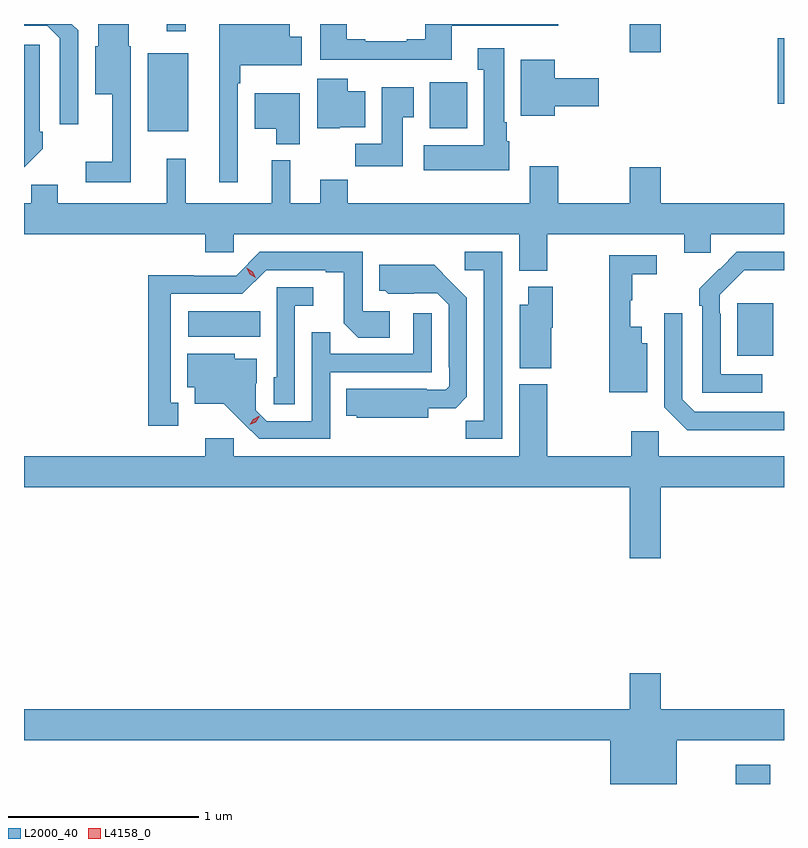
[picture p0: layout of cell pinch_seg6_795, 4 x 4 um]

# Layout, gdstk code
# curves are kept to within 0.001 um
import gdstk
lib = gdstk.Library(unit=1e-6, precision=1e-09)
def R(c, l, rs):  # rectangles x0, y0, x1, y1
    for r in rs: c.add(gdstk.rectangle(r[:2], r[2:], *l))
def P(c, l, *ps):  # polygons
    for p in ps: c.add(gdstk.Polygon(p, *l))
L2000_40 = (2000, 40)
L4158_0 = (4158, 0)

pinch_seg6_795 = lib.new_cell('pinch_seg6_795')
R(pinch_seg6_795, L2000_40, [(153.579,973.747,153.76,973.849), (153.587,976.001,153.775,976.276), (150.696,976.1,151.076,976.234), (150.482,977.183,150.697,977.593), (151.967,977.198,152.164,977.44), (153.8,977.327,153.832,977.671), (153.02,977.598,153.184,977.747), (150.584,977.709,150.682,977.747)])
P(pinch_seg6_795, L2000_40, [(152.083,977.739),(152.644,977.739),(152.644,977.747),(151.943,977.747),(151.943,977.668),(151.847,977.668),(151.847,977.655),(151.627,977.655),(151.627,977.668),(151.531,977.668),(151.531,977.747),(151.391,977.747),(151.391,977.558),(152.083,977.558)],
  [(150.117,977.713),(150.083,977.747),(149.832,977.747),(149.832,977.739),(149.955,977.739),(150.021,977.673),(150.021,977.22),(150.117,977.22)],
  [(150.957,977.435),(150.97,977.435),(150.97,977.531),(151.294,977.531),(151.294,977.679),(151.231,977.679),(151.231,977.747),(150.86,977.747),(150.86,976.914),(150.957,976.914)],
  [(150.393,977.631),(150.382,977.631),(150.382,977.746),(150.224,977.746),(150.224,977.631),(150.206,977.631),(150.206,977.378),(150.296,977.378),(150.296,977.023),(150.156,977.023),(150.156,976.914),(150.393,976.914)],
  [(149.931,977.091),(149.931,977.179),(149.916,977.179),(149.916,977.637),(149.832,977.637),(149.832,976.992)],
  [(152.386,977.13),(152.374,977.13),(152.374,977.23),(152.359,977.23),(152.359,977.62),(152.219,977.62),(152.219,977.507),(152.252,977.507),(152.252,977.11),(151.935,977.11),(151.935,976.976),(152.386,976.976)],
  [(152.626,977.315),(152.857,977.315),(152.857,977.462),(152.626,977.462),(152.626,977.56),(152.447,977.56),(152.447,977.264),(152.626,977.264)],
  [(151.494,977.204),(151.627,977.204),(151.627,977.392),(151.537,977.392),(151.537,977.458),(151.376,977.458),(151.376,977.198),(151.494,977.198)],
  [(151.825,977.257),(151.882,977.257),(151.882,977.413),(151.715,977.413),(151.715,977.116),(151.576,977.116),(151.576,976.998),(151.825,976.998)],
  [(151.282,977.383),(151.046,977.383),(151.046,977.195),(151.16,977.195),(151.16,977.114),(151.282,977.114)],
  [(152.586,976.64),(153.308,976.64),(153.308,976.542),(153.447,976.542),(153.447,976.64),(153.832,976.64),(153.832,976.804),(153.184,976.804),(153.184,976.993),(153.02,976.993),(153.02,976.804),(152.643,976.804),(152.643,976.999),(152.495,976.999),(152.495,976.804),(151.535,976.804),(151.535,976.928),(151.391,976.928),(151.391,976.804),(151.234,976.804),(151.234,977.029),(151.136,977.029),(151.136,976.804),(150.683,976.804),(150.683,977.038),(150.584,977.038),(150.584,976.804),(150.01,976.804),(150.01,976.902),(149.871,976.902),(149.871,976.804),(149.832,976.804),(149.832,976.64),(150.785,976.64),(150.785,976.547),(150.936,976.547),(150.936,976.64),(152.438,976.64),(152.438,976.448),(152.586,976.448)],
  [(152.349,976.548),(152.151,976.548),(152.151,976.452),(152.253,976.452),(152.253,975.659),(152.158,975.659),(152.158,975.564),(152.349,975.564)],
  [(153.718,975.903),(153.498,975.903),(153.498,976.223),(153.495,976.223),(153.495,976.323),(153.624,976.452),(153.832,976.452),(153.832,976.548),(153.584,976.548),(153.387,976.353),(153.387,976.265),(153.402,976.265),(153.402,975.807),(153.718,975.807)],
  [(150.643,975.753),(150.604,975.753),(150.604,976.326),(150.981,976.326),(151.107,976.452),(151.421,976.452),(151.421,976.44),(151.515,976.44),(151.515,976.172),(151.591,976.096),(151.756,976.096),(151.756,976.236),(151.614,976.236),(151.614,976.548),(151.074,976.548),(150.948,976.422),(150.726,976.422),(150.726,976.424),(150.486,976.424),(150.486,975.633),(150.643,975.633)],
  [(153.112,976.066),(153.082,976.066),(153.082,976.153),(153.023,976.153),(153.023,976.293),(153.034,976.293),(153.034,976.429),(153.163,976.429),(153.163,976.53),(152.913,976.53),(152.913,975.809),(153.112,975.809)],
  [(151.96,975.725),(152.104,975.725),(152.163,975.784),(152.163,976.306),(151.991,976.48),(151.703,976.48),(151.703,976.344),(151.734,976.344),(151.75,976.328),(152.007,976.329),(152.067,976.269),(152.067,975.94),(152.07,975.94),(152.07,975.84),(152.052,975.822),(151.952,975.822),(151.952,975.826),(151.528,975.826),(151.528,975.686),(151.584,975.686),(151.584,975.674),(151.96,975.674)],
  [(152.608,976.149),(152.616,976.149),(152.616,976.363),(152.486,976.363),(152.486,976.27),(152.441,976.27),(152.441,975.935),(152.608,975.935)],
  [(151.257,976.265),(151.354,976.265),(151.354,976.362),(151.161,976.362),(151.161,975.888),(151.146,975.888),(151.146,975.745),(151.257,975.745)],
  [(151.443,975.915),(151.977,975.915),(151.977,976.225),(151.881,976.225),(151.881,976.011),(151.445,976.011),(151.445,976.124),(151.347,976.124),(151.347,975.657),(151.11,975.657),(151.053,975.714),(151.053,975.856),(151.057,975.856),(151.057,975.985),(150.942,975.985),(150.942,976.012),(150.692,976.012),(150.692,975.836),(150.731,975.836),(150.731,975.749),(150.883,975.749),(151.07,975.564),(151.443,975.564)],
  [(153.832,975.705),(153.363,975.705),(153.297,975.771),(153.297,976.225),(153.201,976.225),(153.201,975.729),(153.322,975.608),(153.832,975.608)],
  [(153.184,975.308),(153.832,975.308),(153.832,975.472),(153.174,975.472),(153.174,975.604),(153.028,975.604),(153.028,975.472),(152.586,975.472),(152.586,975.85),(152.438,975.85),(152.438,975.472),(150.936,975.472),(150.936,975.568),(150.785,975.568),(150.785,975.472),(149.832,975.472),(149.832,975.308),(153.02,975.308),(153.02,974.934),(153.184,974.934)],
  [(153.268,973.976),(153.832,973.976),(153.832,974.14),(153.184,974.14),(153.184,974.329),(153.02,974.329),(153.02,974.14),(149.832,974.14),(149.832,973.976),(152.918,973.976),(152.918,973.747),(153.268,973.747)])
P(pinch_seg6_795, L4158_0, [(151.02,975.637),(151.02,975.638),(151.038,975.667),(151.068,975.682),(151.069,975.682),(151.069,975.681),(151.051,975.652),(151.02,975.637)],
  [(151.052,976.411),(151.021,976.431),(151.004,976.464),(151.004,976.464),(151.005,976.464),(151.036,976.444),(151.053,976.411),(151.053,976.411)])

lib.write_gds('pinch_seg6_795.gds')
